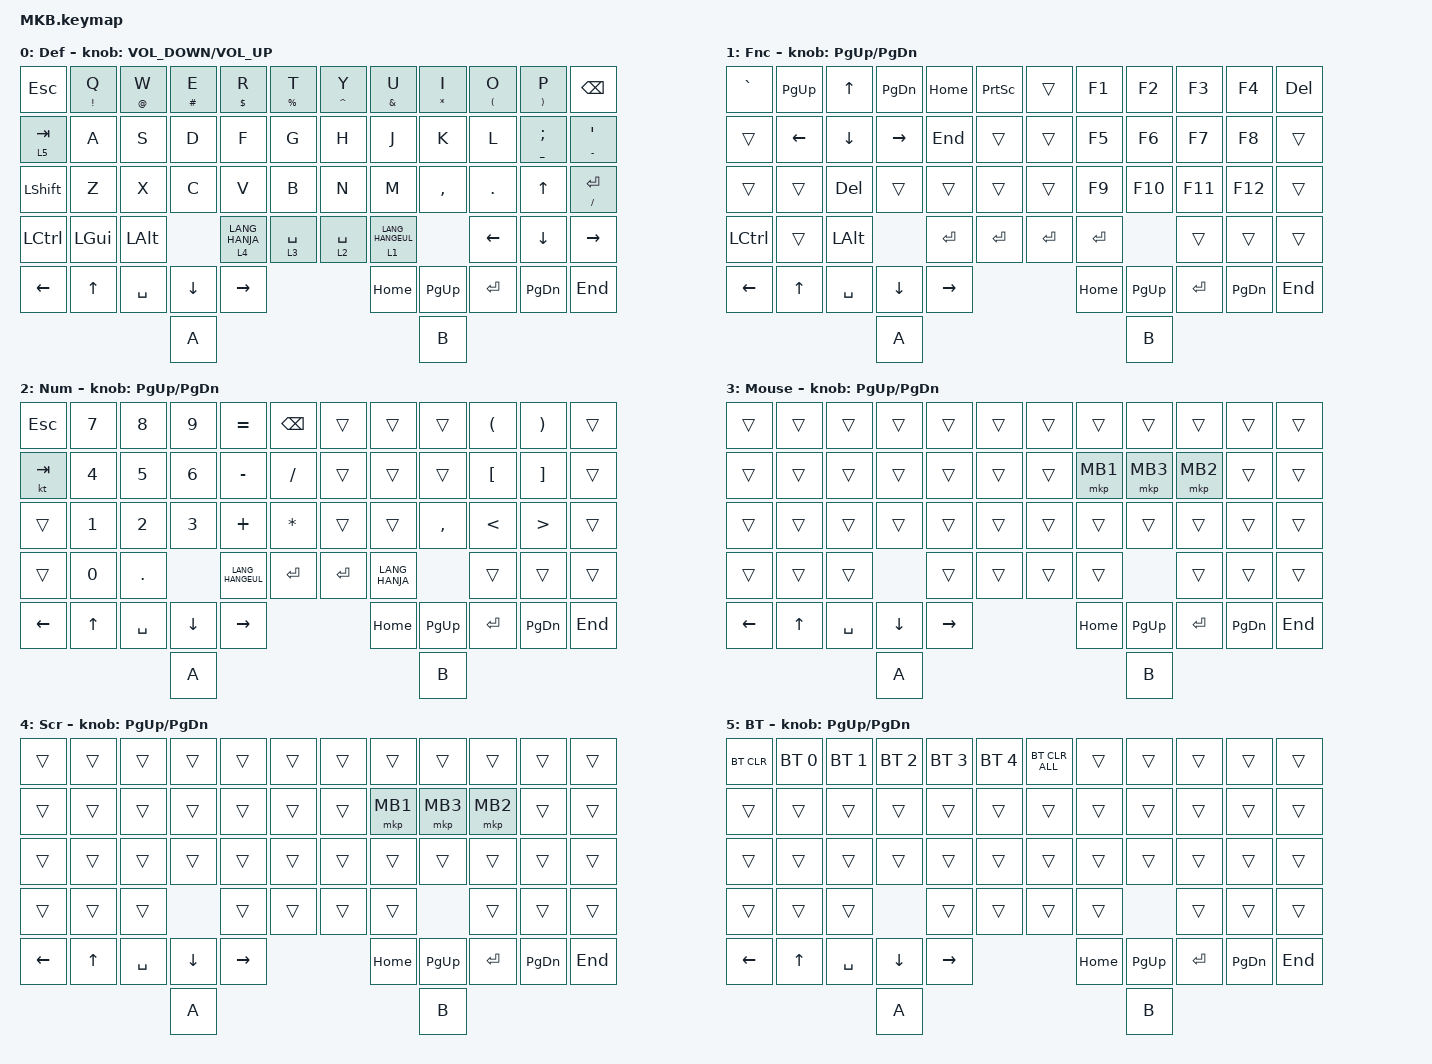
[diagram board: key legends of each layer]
// #include <layout_shift.dtsi>

#include <layout_shift_kp_override.dtsi>
#include <behaviors.dtsi>
#include <dt-bindings/zmk/bt.h>
#include <dt-bindings/zmk/keys.h>
#include <dt-bindings/zmk/pointing.h>

#define DEF 0
#define FUNC 1
#define NUM 2
#define MOUSE 3
#define SCROLL 4
#define BT 5

&mt {
    flavor = "balanced";
    tapping-term-ms = <280>;
    quick-tap-ms = <175>;
    require-prior-idle-ms = <150>;
};

/ {
    keymap {
        compatible = "zmk,keymap";

        default_layer {
            label = "Def";
            bindings = <
&kp ESC    &mt EXCLAMATION Q  &mt AT W   &mt HASH E  &mt DOLLAR R      &mt PERCENT T      &mt CARET Y  &mt AMPERSAND U     &mt ASTERISK I  &mt LEFT_PARENTHESIS O  &mt RIGHT_PARENTHESIS P   &kp BACKSPACE
&lt 5 TAB  &kp A              &kp S      &kp D       &kp F             &kp G              &kp H        &kp J               &kp K           &kp L                   &mt UNDERSCORE SEMICOLON  &mt MINUS APOS
&kp LSHFT  &kp Z              &kp X      &kp C       &kp V             &kp B              &kp N        &kp M               &kp COMMA       &kp DOT                 &kp UP                    &mt FSLH ENTER
&kp LCTRL  &kp LGUI           &kp LALT               &lt 4 LANG_HANJA  &lt 3 SPACE        &lt 2 SPACE  &lt 1 LANG_HANGEUL                  &kp LEFT                &kp DOWN                  &kp RIGHT
&kp LEFT   &kp UP             &kp SPACE  &kp DOWN    &kp RIGHT                                         &kp HOME            &kp PG_UP       &kp ENTER               &kp PG_DN                 &kp END
                                         &kp A                                                                             &kp B
            >;

            sensor-bindings = <&inc_dec_kp C_VOLUME_DOWN C_VOLUME_UP>;
        };

        function_layer {
            label = "Fnc";
            bindings = <
&kp GRAVE  &kp PG_UP  &kp UP     &kp PG_DN  &kp HOME   &kp PRINTSCREEN      &trans     &kp F1     &kp F2     &kp F3     &kp F4     &kp DEL
&trans     &kp LEFT   &kp DOWN   &kp RIGHT  &kp END    &trans               &trans     &kp F5     &kp F6     &kp F7     &kp F8     &trans
&trans     &trans     &kp DEL    &trans     &trans     &trans               &trans     &kp F9     &kp F10    &kp F11    &kp F12    &trans
&kp LCTRL  &trans     &kp LALT              &kp ENTER  &kp ENTER            &kp ENTER  &kp ENTER             &trans     &trans     &trans
&kp LEFT   &kp UP     &kp SPACE  &kp DOWN   &kp RIGHT                                  &kp HOME   &kp PG_UP  &kp ENTER  &kp PG_DN  &kp END
                                 &kp A                                                            &kp B
            >;

            sensor-bindings = <&inc_dec_kp PAGE_UP PAGE_DOWN>;
        };

        num_layer {
            label = "Num";
            bindings = <
&kp ESC   &kp N7        &kp N8        &kp N9        &kp EQUAL         &kp BACKSPACE      &trans     &trans          &trans     &kp LEFT_PARENTHESIS  &kp RIGHT_PARENTHESIS  &trans
&kt TAB   &kp NUMBER_4  &kp N5        &kp NUMBER_6  &kp MINUS         &kp SLASH          &trans     &trans          &trans     &kp LEFT_BRACKET      &kp RIGHT_BRACKET      &trans
&trans    &kp NUMBER_1  &kp NUMBER_2  &kp NUMBER_3  &kp PLUS          &kp ASTERISK       &trans     &trans          &kp COMMA  &kp LESS_THAN         &kp GREATER_THAN       &trans
&trans    &kp N0        &kp PERIOD                  &kp LANG_HANGEUL  &kp ENTER          &kp ENTER  &kp LANG_HANJA             &trans                &trans                 &trans
&kp LEFT  &kp UP        &kp SPACE     &kp DOWN      &kp RIGHT                                       &kp HOME        &kp PG_UP  &kp ENTER             &kp PG_DN              &kp END
                                      &kp A                                                                         &kp B
            >;

            sensor-bindings = <&inc_dec_kp PAGE_UP PAGE_DOWN>;
        };

        mouse_layer {
            label = "Mouse";
            bindings = <
&trans    &trans  &trans     &trans    &trans     &trans      &trans  &trans    &trans     &trans     &trans     &trans
&trans    &trans  &trans     &trans    &trans     &trans      &trans  &mkp MB1  &mkp MB3   &mkp MB2   &trans     &trans
&trans    &trans  &trans     &trans    &trans     &trans      &trans  &trans    &trans     &trans     &trans     &trans
&trans    &trans  &trans               &trans     &trans      &trans  &trans               &trans     &trans     &trans
&kp LEFT  &kp UP  &kp SPACE  &kp DOWN  &kp RIGHT                      &kp HOME  &kp PG_UP  &kp ENTER  &kp PG_DN  &kp END
                             &kp A                                              &kp B
            >;

            sensor-bindings = <&inc_dec_kp PAGE_UP PAGE_DOWN>;
        };

        scroll_layer {
            label = "Scr";
            bindings = <
&trans    &trans  &trans     &trans    &trans     &trans      &trans  &trans    &trans     &trans     &trans     &trans
&trans    &trans  &trans     &trans    &trans     &trans      &trans  &mkp MB1  &mkp MB3   &mkp MB2   &trans     &trans
&trans    &trans  &trans     &trans    &trans     &trans      &trans  &trans    &trans     &trans     &trans     &trans
&trans    &trans  &trans               &trans     &trans      &trans  &trans               &trans     &trans     &trans
&kp LEFT  &kp UP  &kp SPACE  &kp DOWN  &kp RIGHT                      &kp HOME  &kp PG_UP  &kp ENTER  &kp PG_DN  &kp END
                             &kp A                                              &kp B
            >;

            sensor-bindings = <&inc_dec_kp PAGE_UP PAGE_DOWN>;
        };

        bt_layer {
            label = "BT";
            bindings = <
&bt BT_CLR  &bt BT_SEL 0  &bt BT_SEL 1  &bt BT_SEL 2  &bt BT_SEL 3  &bt BT_SEL 4      &bt BT_CLR_ALL  &trans    &trans     &trans     &trans     &trans
&trans      &trans        &trans        &trans        &trans        &trans            &trans          &trans    &trans     &trans     &trans     &trans
&trans      &trans        &trans        &trans        &trans        &trans            &trans          &trans    &trans     &trans     &trans     &trans
&trans      &trans        &trans                      &trans        &trans            &trans          &trans               &trans     &trans     &trans
&kp LEFT    &kp UP        &kp SPACE     &kp DOWN      &kp RIGHT                                       &kp HOME  &kp PG_UP  &kp ENTER  &kp PG_DN  &kp END
                                        &kp A                                                                   &kp B
            >;

            sensor-bindings = <&inc_dec_kp PAGE_UP PAGE_DOWN>;
        };
    };
};
